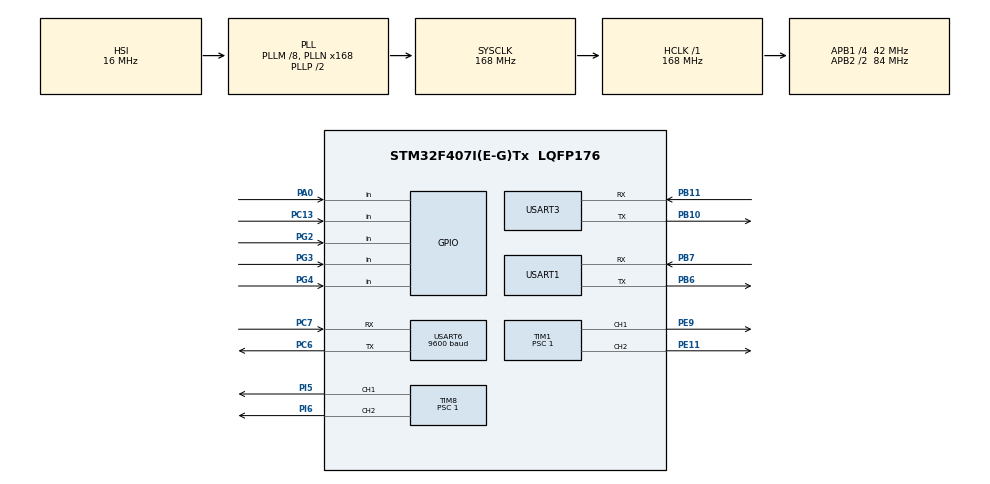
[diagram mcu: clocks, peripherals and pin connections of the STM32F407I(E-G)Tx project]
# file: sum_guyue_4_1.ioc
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Mcu.Family=STM32F4
Mcu.Name=STM32F407I(E-G)Tx
Mcu.Package=LQFP176
NVIC.PriorityGroup=NVIC_PRIORITYGROUP_4
NVIC.USART1_IRQn=true\:0\:0\:false\:false\:true\:true\:true
NVIC.USART3_IRQn=true\:0\:0\:false\:false\:true\:true\:true
NVIC.USART6_IRQn=true\:0\:0\:false\:false\:true\:true\:true
PA0-WKUP.Signal=GPIO_Input
PB10.Mode=Asynchronous
PB10.Signal=USART3_TX
PB11.Mode=Asynchronous
PB11.Signal=USART3_RX
PB6.Mode=Asynchronous
PB6.Signal=USART1_TX
PB7.Mode=Asynchronous
PB7.Signal=USART1_RX
PC13-ANTI_TAMP.Signal=GPIO_Input
PC6.Mode=Asynchronous
PC6.Signal=USART6_TX
PC7.Mode=Asynchronous
PC7.Signal=USART6_RX
PE11.GPIO_Speed=GPIO_SPEED_FREQ_HIGH
PE11.Signal=S_TIM1_CH2
PE9.GPIO_Speed=GPIO_SPEED_FREQ_HIGH
PE9.Signal=S_TIM1_CH1
PG2.Signal=GPIO_Input
PG3.Signal=GPIO_Input
PG4.Signal=GPIO_Input
PI5.Signal=S_TIM8_CH1
PI6.Signal=S_TIM8_CH2
ProjectManager.HeapSize=0x200
ProjectManager.StackSize=0x400
ProjectManager.TargetToolchain=MDK-ARM V5.27
RCC.48MHZClocksFreq_Value=84000000
RCC.AHBFreq_Value=168000000
RCC.APB1CLKDivider=RCC_HCLK_DIV4
RCC.APB1Freq_Value=42000000
RCC.APB1TimFreq_Value=84000000
RCC.APB2CLKDivider=RCC_HCLK_DIV2
RCC.APB2Freq_Value=84000000
RCC.APB2TimFreq_Value=168000000
RCC.CortexFreq_Value=168000000
RCC.HCLKFreq_Value=168000000
RCC.HSE_VALUE=25000000
RCC.HSI_VALUE=16000000
RCC.LSE_VALUE=32768
RCC.PLLM=8
RCC.PLLN=168
RCC.SYSCLKFreq_VALUE=168000000
RCC.SYSCLKSource=RCC_SYSCLKSOURCE_PLLCLK
RCC.VCOOutputFreq_Value=336000000
SH.S_TIM1_CH1.0=TIM1_CH1,PWM Generation1 CH1
SH.S_TIM1_CH2.0=TIM1_CH2,PWM Generation2 CH2
SH.S_TIM8_CH1.0=TIM8_CH1,PWM Generation1 CH1
SH.S_TIM8_CH2.0=TIM8_CH2,PWM Generation2 CH2
TIM1.Channel-PWM\ Generation1\ CH1=TIM_CHANNEL_1
TIM1.Channel-PWM\ Generation2\ CH2=TIM_CHANNEL_2
TIM1.Period=5599
TIM1.Prescaler=1
TIM8.Channel-PWM\ Generation1\ CH1=TIM_CHANNEL_1
TIM8.Channel-PWM\ Generation2\ CH2=TIM_CHANNEL_2
TIM8.Period=5599
TIM8.Prescaler=1
USART1.VirtualMode=VM_ASYNC
USART3.VirtualMode=VM_ASYNC
USART6.BaudRate=9600
USART6.VirtualMode=VM_ASYNC
VP_TIM1_VS_ClockSourceINT.Mode=Internal
VP_TIM8_VS_ClockSourceINT.Mode=Internal
board=custom

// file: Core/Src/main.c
/* USER CODE BEGIN Header */
/**
  ******************************************************************************
  * @file           : main.c
  * @brief          : Main program body
  ******************************************************************************
  * @attention
  *
  * <h2><center>&copy; Copyright (c) 2021 STMicroelectronics.
  * All rights reserved.</center></h2>
  *
  * This software component is licensed by ST under BSD 3-Clause license,
  * the "License"; You may not use this file except in compliance with the
  * License. You may obtain a copy of the License at:
  *                        opensource.org/licenses/BSD-3-Clause
  *
  ******************************************************************************
  */
/* USER CODE END Header */
#include "main.h"
#include "tim.h"
#include "usart.h"
#include "gpio.h"

/* USER CODE BEGIN Includes */

#include "control.h"

 #define RXBUFFERSIZE  256
 char info_buffer[RXBUFFERSIZE];
 uint8_t aRxBuffer;
 uint8_t Uart1_Rx_Cnt = 0;

#define MAGNETIC_BUFFER_LEN 8
uint8_t magnetic_buffer[MAGNETIC_BUFFER_LEN];
uint8_t Uart3_Rx_Cnt = 0;

#define CARD_BUFFER_LEN 16
uint8_t card_buffer[CARD_BUFFER_LEN];
uint8_t Uart6_Rx_Cnt = 0;

enum Motor_state g_motor;

struct Robot g_robot;
struct Command g_command;

/* USER CODE END Includes */

void SystemClock_Config(void);

/* USER CODE BEGIN 0 */
int get_key_status(GPIO_TypeDef* GPIOx, uint16_t GPIO_Pin)
{
	if (HAL_GPIO_ReadPin(GPIOx, GPIO_Pin) == GPIO_PIN_SET)
	{
			while(HAL_GPIO_ReadPin(GPIOx, GPIO_Pin) == GPIO_PIN_SET);
			return 1;
	}
	else
	{
			return 0;
	}
}
int robot_init()
{
	g_robot.m_speed = MOTOR_SPEED_INITIAL;
	g_robot.m_motor_left_value = MOTOR_SPEED_INITIAL;
	g_robot.m_motor_right_value = MOTOR_SPEED_INITIAL;
	g_robot.m_target = -1;
	g_robot.m_robot_status = READY;
	g_robot.m_direction = 1;

	g_motor = MOTOR_DISABLE;
	return 0;
}

int robot_enable()
{
	if (g_motor == MOTOR_DISABLE)
	{
		HAL_TIM_PWM_Start(&htim1,TIM_CHANNEL_1);
		HAL_TIM_PWM_Start(&htim1,TIM_CHANNEL_2);
		HAL_TIM_PWM_Start(&htim8,TIM_CHANNEL_1);
		HAL_TIM_PWM_Start(&htim8,TIM_CHANNEL_2);
		g_motor = MOTOR_ENABLE;
		printf("< robot > robot enable!\n");
	}
	else
	{
		//printf("< robot > already enable!\n");
	}
	return 0;
}

int robot_disable()
{
	if (g_motor == MOTOR_ENABLE)
	{
		HAL_TIM_PWM_Stop(&htim1,TIM_CHANNEL_1);
		HAL_TIM_PWM_Stop(&htim1,TIM_CHANNEL_2);
		HAL_TIM_PWM_Stop(&htim8,TIM_CHANNEL_1);
		HAL_TIM_PWM_Stop(&htim8,TIM_CHANNEL_2);
		g_motor = MOTOR_DISABLE;
		printf("< robot > robot disable!\n");
	}
	else
	{
		//printf("< robot > already disable!\n");
	}

	return 0;
}

int robot_run(int motor_left_value, int motor_right_value)
{
	robot_enable();

	if (g_robot.m_direction == 1)
	{
		__HAL_TIM_SET_COMPARE(&htim1, TIM_CHANNEL_1, motor_left_value);
		__HAL_TIM_SET_COMPARE(&htim1, TIM_CHANNEL_2, 0);
		__HAL_TIM_SET_COMPARE(&htim8, TIM_CHANNEL_1, motor_right_value);
		__HAL_TIM_SET_COMPARE(&htim8, TIM_CHANNEL_2, 0);
	}
	else
	{
		__HAL_TIM_SET_COMPARE(&htim1, TIM_CHANNEL_1, 0);
		__HAL_TIM_SET_COMPARE(&htim1, TIM_CHANNEL_2, abs(motor_left_value));
		__HAL_TIM_SET_COMPARE(&htim8, TIM_CHANNEL_1, 0);
		__HAL_TIM_SET_COMPARE(&htim8, TIM_CHANNEL_2, abs(motor_right_value));
	}
	g_robot.m_robot_status = RUNNING;

	//printf("< robot > running! left speed: %d, right speed: %d, direction: %d\n",
	//g_robot.m_motor_left_value, g_robot.m_motor_right_value, g_robot.m_direction);

	return 0;
}

int robot_speed_up(int value)
{
	g_robot.m_speed = g_robot.m_speed + value * g_robot.m_direction;
	if (abs(g_robot.m_speed) >= abs(MOTOR_SPEED_MAX))
	{
		g_robot.m_speed = MOTOR_SPEED_MAX * g_robot.m_direction;
	}
	if (abs(g_robot.m_speed) <= abs(MOTOR_SPEED_MIN))
	{
		g_robot.m_speed = MOTOR_SPEED_MIN * g_robot.m_direction;
	}
	return 0;
}

int robot_speed_down(int value)
{
	g_robot.m_speed = g_robot.m_speed - value * g_robot.m_direction;
	if (abs(g_robot.m_speed) >= abs(MOTOR_SPEED_MAX))
	{
		g_robot.m_speed = MOTOR_SPEED_MAX * g_robot.m_direction;
	}
	if (abs(g_robot.m_speed) <= abs(MOTOR_SPEED_MIN))
	{
		g_robot.m_speed = MOTOR_SPEED_MIN * g_robot.m_direction;
	}
	return 0;
}

int robot_direction_reverse()
{
	g_robot.m_direction = - g_robot.m_direction;
	g_robot.m_speed = -g_robot.m_speed;
	return 0;
}

/* USER CODE END 0 */

int main(void)
{

  /* MCU Configuration--------------------------------------------------------*/

  /* Reset of all peripherals, Initializes the Flash interface and the Systick. */
  HAL_Init();

  /* Configure the system clock */
  SystemClock_Config();

  /* Initialize all configured peripherals */
  MX_GPIO_Init();
  MX_TIM1_Init();
  MX_USART1_UART_Init();
  MX_USART3_UART_Init();
  MX_USART6_UART_Init();
  MX_TIM8_Init();
  /* USER CODE BEGIN 2 */

	HAL_TIM_PWM_Start(&htim1,TIM_CHANNEL_1);
	HAL_TIM_PWM_Start(&htim1,TIM_CHANNEL_2);

	HAL_UART_Receive_IT(&huart1, (uint8_t *)&aRxBuffer, 1);
	HAL_UART_Receive_IT(&huart3, magnetic_buffer, MAGNETIC_BUFFER_LEN);
	HAL_UART_Receive_IT(&huart6, card_buffer, CARD_BUFFER_LEN);\

	robot_init();
	printf("hello FUXI ROBOT!\n");

  /* USER CODE END 2 */

  /* Infinite loop */
  while (1)
  {

    /* USER CODE BEGIN 3 */
		HAL_UART_Receive_IT(&huart3, magnetic_buffer, MAGNETIC_BUFFER_LEN);
		if (get_key_status(GPIOA, GPIO_PIN_0)) // enable motor
    {
			robot_enable();
			robot_run(g_robot.m_speed, g_robot.m_speed);

			printf("< key > motor 1 on\n");
			printf("< key > motor 1 speed up, current speed: %d, direction: %d\n", g_robot.m_speed, g_robot.m_direction);
    }
    if (get_key_status(GPIOG, GPIO_PIN_2)) // disable motor
    {
			robot_disable();
			g_robot.m_robot_status = READY;

			printf("< key > motor 1 off\n");
    }
    if (get_key_status(GPIOC, GPIO_PIN_13)) // motor speed up
    {
			robot_speed_up(MOTOR_SPEED_DELTA);
			robot_run(g_robot.m_speed, g_robot.m_speed);
			printf("< key > motor 1 speed up, current speed: %d, direction: %d\n", g_robot.m_speed, g_robot.m_direction);
    }
    if (get_key_status(GPIOG, GPIO_PIN_3)) // motor speed down
    {
			robot_speed_down(MOTOR_SPEED_DELTA);
			robot_run(g_robot.m_speed, g_robot.m_speed);
			printf("< key > motor 1 speed down, current speed: %d, direction: %d\n", g_robot.m_speed, g_robot.m_direction);
    }
    if (get_key_status(GPIOG, GPIO_PIN_4)) // motor direction reverse
    {
			robot_direction_reverse();
			robot_run(g_robot.m_speed, g_robot.m_speed);
			printf("< key > motor 1 direction reverse, current speed: %d, direction: %d\n", g_robot.m_speed, g_robot.m_direction);
    }
  }
  /* USER CODE END 3 */
}

void SystemClock_Config(void)
{
  RCC_OscInitTypeDef RCC_OscInitStruct = {0};
  RCC_ClkInitTypeDef RCC_ClkInitStruct = {0};

  /** Configure the main internal regulator output voltage
  */
  __HAL_RCC_PWR_CLK_ENABLE();
  __HAL_PWR_VOLTAGESCALING_CONFIG(PWR_REGULATOR_VOLTAGE_SCALE1);
  /** Initializes the RCC Oscillators according to the specified parameters
  * in the RCC_OscInitTypeDef structure.
  */
  RCC_OscInitStruct.OscillatorType = RCC_OSCILLATORTYPE_HSI;
  RCC_OscInitStruct.HSIState = RCC_HSI_ON;
  RCC_OscInitStruct.HSICalibrationValue = RCC_HSICALIBRATION_DEFAULT;
  RCC_OscInitStruct.PLL.PLLState = RCC_PLL_ON;
  RCC_OscInitStruct.PLL.PLLSource = RCC_PLLSOURCE_HSI;
  RCC_OscInitStruct.PLL.PLLM = 8;
  RCC_OscInitStruct.PLL.PLLN = 168;
  RCC_OscInitStruct.PLL.PLLP = RCC_PLLP_DIV2;
  RCC_OscInitStruct.PLL.PLLQ = 4;
  if (HAL_RCC_OscConfig(&RCC_OscInitStruct) != HAL_OK)
  {
    Error_Handler();
  }
  /** Initializes the CPU, AHB and APB buses clocks
  */
  RCC_ClkInitStruct.ClockType = RCC_CLOCKTYPE_HCLK|RCC_CLOCKTYPE_SYSCLK
                              |RCC_CLOCKTYPE_PCLK1|RCC_CLOCKTYPE_PCLK2;
  RCC_ClkInitStruct.SYSCLKSource = RCC_SYSCLKSOURCE_PLLCLK;
  RCC_ClkInitStruct.AHBCLKDivider = RCC_SYSCLK_DIV1;
  RCC_ClkInitStruct.APB1CLKDivider = RCC_HCLK_DIV4;
  RCC_ClkInitStruct.APB2CLKDivider = RCC_HCLK_DIV2;

  if (HAL_RCC_ClockConfig(&RCC_ClkInitStruct, FLASH_LATENCY_5) != HAL_OK)
  {
    Error_Handler();
  }
}

/* USER CODE BEGIN 4 */

int robot_walk_forward(){return 0;};
int robot_walk_rear(){return 0;};
int robot_walk_left(){return 0;};
int robot_walk_right(){return 0;};

int process_magnetic(uint8_t magnetic_buffer[MAGNETIC_BUFFER_LEN])
{
	uint8_t magnetic_value = magnetic_buffer[5];

	struct Robot r;
	r = translate_magnetic_2_motor(g_robot, magnetic_value);

	g_robot.m_motor_left_value = r.m_motor_left_value;
	g_robot.m_motor_right_value = r.m_motor_right_value;
	g_robot.m_magnetic_value = r.m_magnetic_value;
	for (int i = 0 ; i < MAGNETIC_BUFFER_LEN; i++)
	{
		g_robot.m_magnetic_status_0_1[i] = r.m_magnetic_status_0_1[i];
	}
	if (g_robot.m_robot_status == RUNNING)
	{
		robot_run(r.m_motor_left_value, r.m_motor_right_value);
	}

	return 0;
}

int process_card(int card_id)
{
	if (card_id == g_robot.m_target)
	{
		printf("< robot > arrived target %d!\n", card_id);
		g_robot.m_target = -1;
		g_robot.m_robot_status = READY;
		robot_disable();
	}
	else
	{
		printf("< robot > arrived at %d!\n", card_id);
	}
	printf("< robot > state: %d, speed: %d, target: %d, left: %d, right: %d, direction:%d\n",
		g_robot.m_robot_status,
		g_robot.m_speed,
		g_robot.m_target,
		g_robot.m_motor_left_value,
		g_robot.m_motor_right_value,
		g_robot.m_direction
	);
	return 0;
}

int process_command(char info_buffer[256])
{
	g_command = translate_infor_2_command(info_buffer);

	switch (g_command.m_command_kind)
	{
		case RUN:
			printf("< answer >< OK >[ start ]\n");
			robot_run(g_robot.m_motor_left_value, g_robot.m_motor_right_value);
			g_robot.m_robot_status = RUNNING;
			break;
		case STOP:
			printf("< answer >< OK >[ stop ]\n");
			robot_disable();
			g_robot.m_robot_status = READY;
			break;
		case SET_SPEED:
			g_robot.m_speed = g_command.m_command_value; // speed can +/-
			printf("< answer >< OK >[ set ][ speed ]: %d\n", g_robot.m_speed );
			g_robot.m_motor_left_value = g_robot.m_speed;
			g_robot.m_motor_right_value = g_robot.m_speed;
			if (g_robot.m_robot_status == RUNNING) // + no collision + no obstacle
			{
				if (g_robot.m_speed < 0)
				{
					g_robot.m_direction = -1;
				}
				else
				{
					g_robot.m_direction = 1;
				}
				robot_run(g_robot.m_motor_left_value, g_robot.m_motor_right_value);
			}
			break;
		case SET_TARGET:
			g_robot.m_target = g_command.m_command_value;
			printf("< answer >< OK >[ set ][ target ]: %d\n", g_robot.m_target);
			if (g_robot.m_robot_status != DERAILED) // + no collision + no obstacle
			{
				robot_run(g_robot.m_motor_left_value, g_robot.m_motor_right_value);
			}
			break;
		case CHARGE:
			printf("< answer >< OK >[ charge ]\n");
			g_robot.m_target = g_command.m_command_value;
			if (g_robot.m_robot_status != DERAILED) // + no collision + no obstacle
			{
				robot_run(g_robot.m_motor_left_value, g_robot.m_motor_right_value);
			}
			break;
		case WALK_FORWARD:
			printf("< answer >< OK >[ walk ][ forward ]\n");
			robot_walk_forward();
			robot_disable();
			g_robot.m_robot_status = READY;
			break;
		case WALK_REAR:
			printf("< answer >< OK >[ walk ][ rear ]\n");
			robot_walk_rear();
			robot_disable();
			g_robot.m_robot_status = READY;
			break;
		case WALK_LEFT:
			printf("< answer >< OK >[ walk ][ left ]\n");
			robot_walk_left();
			robot_disable();
			g_robot.m_robot_status = READY;
			break;
		case WALK_RIGHT:
			printf("< answer >< OK >[ walk ][ right ]\n");
			robot_walk_right();
			robot_disable();
			g_robot.m_robot_status = READY;
			break;
		case QUERY_ALL:
			query(g_robot, g_command, g_motor, 0);
			break;
		case QUERY_STATUS:
			query(g_robot, g_command, g_motor, 1);
			break;
		case QUERY_SPEED:
			query(g_robot, g_command, g_motor, 2);
			break;
		case QUERY_TARGET:
			query(g_robot, g_command, g_motor, 3);
			break;
		case COMMAND_ERROR:
			break;
	}
	printf("< robot > state: %d, speed: %d, target: %d, left: %d, right: %d, direction:%d\n",
		g_robot.m_robot_status,
		g_robot.m_speed,
		g_robot.m_target,
		g_robot.m_motor_left_value,
		g_robot.m_motor_right_value,
		g_robot.m_direction
	);
	return 0;
}

void HAL_UART_RxCpltCallback(UART_HandleTypeDef *huart)
{
	UNUSED(huart);
	if (huart == &huart1)
	{
		if(Uart1_Rx_Cnt >= 255)
		{
			Uart1_Rx_Cnt = 0;
			memset(info_buffer,0x00,sizeof(info_buffer));
			HAL_UART_Transmit(&huart1, (uint8_t *)"Data overflow!", 10,0xFFFF);
		}
		else
		{
			info_buffer[Uart1_Rx_Cnt++] = aRxBuffer;
			if(info_buffer[Uart1_Rx_Cnt-3] == ';' && info_buffer[Uart1_Rx_Cnt-2] == 0x0D && info_buffer[Uart1_Rx_Cnt-1] == 0x0A)
			{
				process_command(info_buffer);

				Uart1_Rx_Cnt = 0;
				memset(info_buffer,0x00,sizeof(info_buffer));
			}
		}
		HAL_UART_Receive_IT(&huart1, (uint8_t *)&aRxBuffer, 1);

	}
	if (huart == &huart3)
	{
		//printf("s");
		process_magnetic(magnetic_buffer);
		HAL_UART_Receive_IT(&huart3, magnetic_buffer, MAGNETIC_BUFFER_LEN);
//		if (huart->RxState == HAL_UART_STATE_READY)
//		 {
//			 printf("0");
//		 }
//		 else
//		 {
//			 printf("1");
//		 }
	}
	if (huart == &huart6)
	{
		uint8_t card_id = card_buffer[15];
		process_card(card_id);
		HAL_UART_Receive_IT(&huart6, card_buffer, CARD_BUFFER_LEN);
//		HAL_UART_Receive_IT(&huart3, magnetic_buffer, MAGNETIC_BUFFER_LEN);
//		 if (huart->RxState == HAL_UART_STATE_READY)
//		 {
//			 printf("000000000");
//		 }
//		 else
//		 {
//			 printf("1111111");
//		 }

	}
}

/* USER CODE END 4 */

void Error_Handler(void)
{
  __disable_irq();
  while (1)
  {
  }
}

/************************ (C) COPYRIGHT STMicroelectronics *****END OF FILE****/
